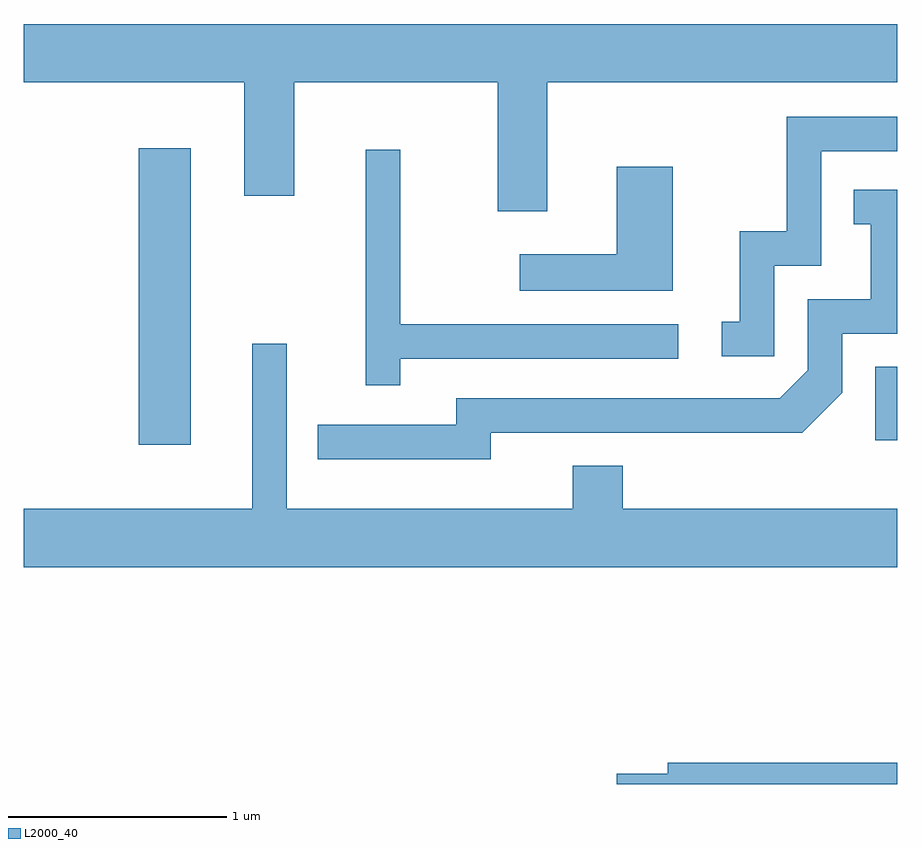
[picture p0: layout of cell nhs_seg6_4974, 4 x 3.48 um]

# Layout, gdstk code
import gdstk
lib = gdstk.Library(unit=1e-6, precision=1e-09)
def R(c, l, rs):  # rectangles x0, y0, x1, y1
    for r in rs: c.add(gdstk.rectangle(r[:2], r[2:], *l))
def P(c, l, *ps):  # polygons
    for p in ps: c.add(gdstk.Polygon(p, *l))
L2000_40 = (2000, 40)

nhs_seg6_4974 = lib.new_cell('nhs_seg6_4974')
R(nhs_seg6_4974, L2000_40, [(338.136,1541.716,338.374,1543.074), (341.511,1541.738,341.611,1542.074)])
P(nhs_seg6_4974, L2000_40, [(340.009,1543.376),(341.611,1543.376),(341.611,1543.644),(337.611,1543.644),(337.611,1543.376),(338.621,1543.376),(338.621,1542.856),(338.849,1542.856),(338.849,1543.376),(339.781,1543.376),(339.781,1542.786),(340.009,1542.786)],
  [(341.049,1542.536),(341.264,1542.536),(341.264,1543.061),(341.611,1543.061),(341.611,1543.219),(341.106,1543.219),(341.106,1542.694),(340.891,1542.694),(340.891,1542.279),(340.808,1542.279),(340.808,1542.121),(341.049,1542.121)],
  [(339.334,1542.111),(340.608,1542.111),(340.608,1542.269),(339.334,1542.269),(339.334,1543.068),(339.176,1543.068),(339.176,1541.988),(339.334,1541.988)],
  [(340.584,1542.989),(340.326,1542.989),(340.326,1542.589),(339.883,1542.589),(339.883,1542.421),(340.584,1542.421)],
  [(339.749,1541.771),(341.177,1541.771),(341.359,1541.954),(341.359,1542.226),(341.611,1542.226),(341.611,1542.884),(341.413,1542.884),(341.413,1542.726),(341.491,1542.726),(341.491,1542.384),(341.201,1542.384),(341.201,1542.057),(341.074,1541.929),(339.591,1541.929),(339.591,1541.809),(338.958,1541.809),(338.958,1541.651),(339.749,1541.651)],
  [(341.611,1541.424),(340.354,1541.424),(340.354,1541.619),(340.126,1541.619),(340.126,1541.424),(338.814,1541.424),(338.814,1542.178),(338.656,1542.178),(338.656,1541.424),(337.611,1541.424),(337.611,1541.156),(341.611,1541.156)],
  [(341.611,1540.259),(340.561,1540.259),(340.561,1540.209),(340.326,1540.209),(340.326,1540.162),(341.611,1540.162)])

lib.write_gds('nhs_seg6_4974.gds')
